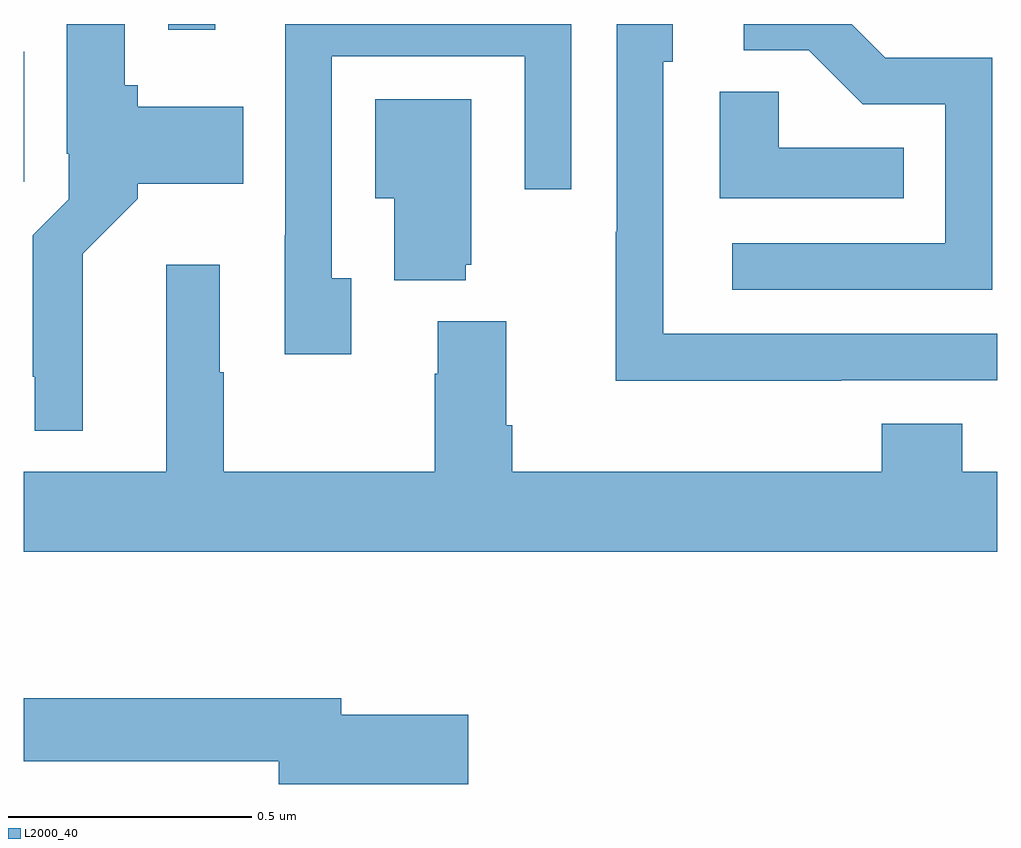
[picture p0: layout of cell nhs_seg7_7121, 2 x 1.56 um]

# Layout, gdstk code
import gdstk
lib = gdstk.Library(unit=1e-6, precision=1e-09)
def R(c, l, rs):  # rectangles x0, y0, x1, y1
    for r in rs: c.add(gdstk.rectangle(r[:2], r[2:], *l))
def P(c, l, *ps):  # polygons
    for p in ps: c.add(gdstk.Polygon(p, *l))
L2000_40 = (2000, 40)

nhs_seg7_7121 = lib.new_cell('nhs_seg7_7121')
R(nhs_seg7_7121, L2000_40, [(207,1034.676,207.001,1034.943), (207.297,1034.988,207.394,1035)])
P(nhs_seg7_7121, L2000_40, [(208.679,1034.268),(209,1034.268),(209,1034.364),(208.314,1034.364),(208.314,1034.922),(208.333,1034.922),(208.333,1035),(208.218,1035),(208.218,1034.573),(208.216,1034.573),(208.216,1034.267),(208.679,1034.267)],
  [(208.989,1034.931),(208.77,1034.931),(208.701,1035),(208.479,1035),(208.479,1034.946),(208.613,1034.946),(208.724,1034.835),(208.893,1034.835),(208.893,1034.55),(208.455,1034.55),(208.455,1034.454),(208.989,1034.454)],
  [(207.121,1034.528),(207.234,1034.641),(207.234,1034.672),(207.451,1034.672),(207.451,1034.83),(207.234,1034.83),(207.234,1034.874),(207.208,1034.874),(207.208,1035),(207.089,1035),(207.089,1034.734),(207.093,1034.734),(207.093,1034.64),(207.019,1034.566),(207.019,1034.275),(207.023,1034.275),(207.023,1034.165),(207.121,1034.165)],
  [(207.673,1034.478),(207.633,1034.478),(207.633,1034.934),(208.029,1034.934),(208.029,1034.661),(208.125,1034.661),(208.125,1035),(207.537,1035),(207.537,1034.566),(207.536,1034.566),(207.536,1034.322),(207.673,1034.322)],
  [(208.808,1034.746),(208.551,1034.746),(208.551,1034.861),(208.43,1034.861),(208.43,1034.642),(208.808,1034.642)],
  [(207.908,1034.505),(207.919,1034.505),(207.919,1034.845),(207.722,1034.845),(207.722,1034.642),(207.761,1034.642),(207.761,1034.474),(207.908,1034.474)],
  [(209,1034.08),(208.928,1034.08),(208.928,1034.179),(208.763,1034.179),(208.763,1034.08),(208.004,1034.08),(208.004,1034.176),(207.991,1034.176),(207.991,1034.389),(207.851,1034.389),(207.851,1034.282),(207.844,1034.282),(207.844,1034.08),(207.411,1034.08),(207.411,1034.285),(207.403,1034.285),(207.403,1034.506),(207.293,1034.506),(207.293,1034.08),(207,1034.08),(207,1033.916),(209,1033.916)],
  [(207.913,1033.581),(207.652,1033.581),(207.652,1033.615),(207,1033.615),(207,1033.486),(207.524,1033.486),(207.524,1033.439),(207.913,1033.439)])

lib.write_gds('nhs_seg7_7121.gds')
